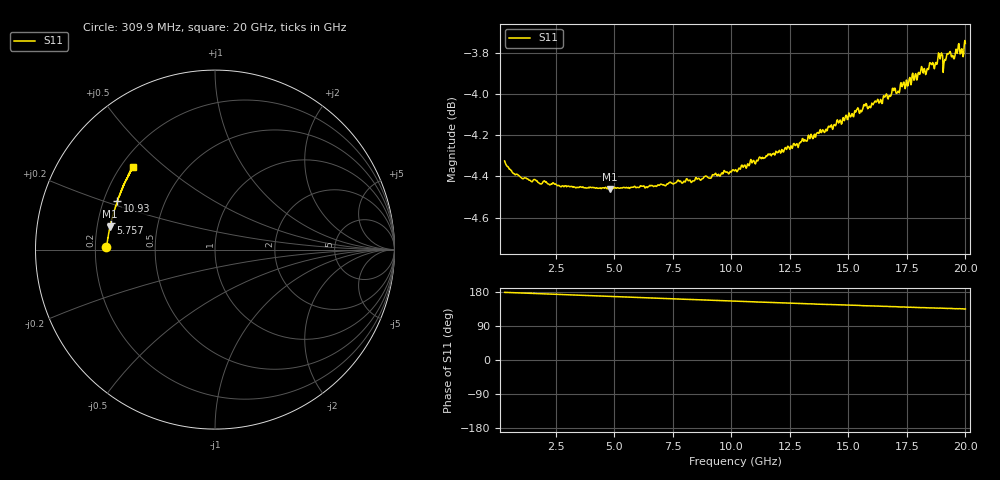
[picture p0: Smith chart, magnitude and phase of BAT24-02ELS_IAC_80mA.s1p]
! Infineon Technologies  Discrete & RF Semiconductors
! BAT24-02ELS
! IAC = 80 mA
! One-Port S-Parameters
# Hz  S  MA  R  50
!f  S11
!Hz  Mag  Ang
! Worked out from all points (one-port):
!   789 points, 309.9 MHz to 20 GHz, reference 50 ohm
!   lowest |S11| = -4.5 dB at 4.808 GHz (marker M1), VSWR 3.98, Z = 12.7 + j5.06 ohm
!   |S11| at or under -10 dB: nowhere
!   S11 on the Smith chart (normalised r, x): 309.9 MHz: 0.24, +0.01; 5.757 GHz: 0.25, +0.12; 10.93 GHz: 0.26, +0.22; 20 GHz: 0.25, +0.39
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3.0985e8  0.6078 178.5
1.034488e9  0.602 176.8
2.783612e9  0.5994 172.5
4.8076e9  0.5983 167.7
5.232388e9  0.5986 166.6
5.757125e9  0.5989 165.5
7.70615e9  0.6012 160.9
1.015492e10  0.6045 155.3
1.092954e10  0.6079 153.5
1.262869e10  0.6129 149.7
1.407796e10  0.6181 146.6
1.507746e10  0.623 144.8
1.662669e10  0.631 141.6
1.715142e10  0.6317 140.2
1.755122e10  0.634 139.4
1.82009e10  0.6384 138.2
1.837581e10  0.6401 137.7
1.855072e10  0.6415 137.5
1.875062e10  0.6422 137.1
1.895052e10  0.6447 136.8
1.912544e10  0.6433 136.4
1.932534e10  0.6459 136.1
1.950025e10  0.6436 135.7
1.962519e10  0.6467 135.5
1.967516e10  0.6467 135.2
1.982509e10  0.6469 135.0
1.987506e10  0.6458 135.2
2e10  0.6491 134.9
